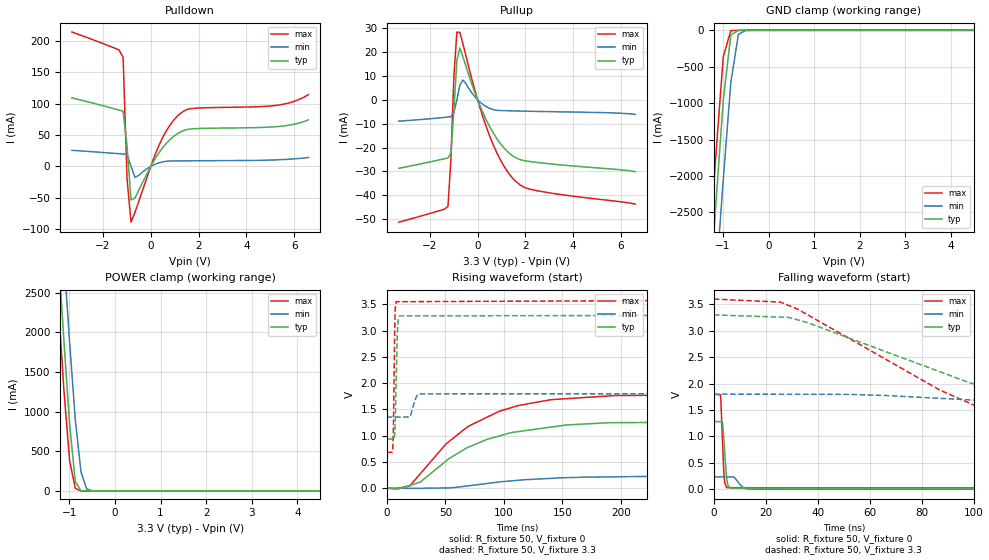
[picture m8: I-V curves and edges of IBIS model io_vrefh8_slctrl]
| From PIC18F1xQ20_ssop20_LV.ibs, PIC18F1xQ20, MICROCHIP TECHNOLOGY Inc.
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[Model] io_vrefh8_slctrl
Model_type I/O
Vinl  =  0.8
Vinh  =  2
| Capacitance   typ   min   max
C_comp   4.791778768558451e-12   4.779455766126075e-12   5.038339710819947e-12
[Model Spec]
| Subparameter   typ   min   max
Vinl   1.5   0.81   1.65
Vinh   3.6   1.89   3.85
Vmeas   2.5   1.35   2.75
| Variables   typ   min   max
[GND Clamp Reference]   0   0   0
[POWER Clamp Reference]   3.3   1.8   3.6
[Pulldown Reference]   0   0   0
[Pullup Reference]   3.3   1.8   3.6
[Temperature Range]   25   125   -40
[Voltage Range]   3.3   1.8   3.6
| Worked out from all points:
|   slope of the pulldown table from 0 to 0.495 V, typ, clamps not added: 16.7 ohm
|   slope of the pullup table from 0 to 0.495 V, typ, clamps not added: 44.8 ohm
|   GND clamp passes 1 mA (typ) near -0.66 V on its own axis
|   POWER clamp passes 1 mA (typ) near -0.65 V on its own axis
|   falling waveform, R_fixture 50, V_fixture 0: 20-80 % time 1.13ns typ, 2.41ns min, 907ps max; typ from 1.28 V to 0 V
|   falling waveform, R_fixture 50, V_fixture 3.3: 20-80 % time 93.8ns typ, 139ns min, 70.5ns max; typ from 3.3 V to 0.939 V
|   rising waveform, R_fixture 50, V_fixture 0: 20-80 % time 64.8ns typ, 69.4ns min, 61.6ns max; typ from 0 V to 1.28 V
|   rising waveform, R_fixture 50, V_fixture 3.3: 20-80 % time 1.53ns typ, 3.74ns min, 1.04ns max; typ from 0.936 V to 3.3 V
[GND Clamp]
| Voltage   I(typ)   I(min)   I(max)
-3.3V     -21.91A    -22.19A    -21.78A
-1.324V   -3.909A    -4.914A    -3.278A
-1.159V   -2.411A    -3.476A    -1.739A
-993.1mV  -956.7mA   -2.045A    -361.5mA
-827.6mV  -63.16mA   -715.6mA   -3.815mA
-662.1mV  -771.9uA   -54.27mA   -476.9uA
-496.6mV  -18.17uA   -719.5uA   -5.006uA
6.6V      0A         0A         0A
[POWER Clamp]
| Voltage   I(typ)   I(min)   I(max)
-3.3V     21.48A     21.8A      21.33A
-1.366V   4.118A     5.086A     3.518A
-1.241V   3.004A     4.014A     2.376A
-1.117V   1.891A     2.941A     1.268A
-993.1mV  844.7mA    1.878A     384.1mA
-869mV    120.2mA    905.4mA    32.61mA
-744.8mV  3.111mA    245mA      1.387mA
-620.7mV  347.3uA    25.54mA    378.5uA
-496.6mV  24.89uA    1.111mA    41.86uA
6.6V      0A         0A         0A
[Pulldown]
| Voltage   I(typ)   I(min)   I(max)
-3.3V     109.4mA    25.68mA    214.5mA
-1.324V   89.88mA    20.27mA    185.9mA
-1.159V   88.12mA    19.77mA    173.8mA
-993.1mV  31.88mA    19.25mA    -20.25mA
-827.6mV  -53.52mA   -38.8uA    -89.02mA
-662.1mV  -50.57mA   -17.43mA   -73.42mA
341.4mV   21.7mA     5.717mA    33.47mA
796.6mV   42.57mA    8.672mA    65.49mA
1.252V    55.15mA    8.913mA    85mA
1.821V    60.27mA    9.023mA    92.84mA
5.286V    63.53mA    10.51mA    97.64mA
6.6V      74.27mA    14.23mA    114.7mA
[Pullup]
| Voltage   I(typ)   I(min)   I(max)
-3.3V     -28.7mA    -8.942mA   -51.33mA
-1.241V   -24.41mA   -7.199mA   -44.6mA
-1.117V   -22.37mA   -7.062mA   -24.69mA
-993.1mV  -4.232mA   -5.311mA   10.1mA
-869mV    16.63mA    -60.72uA   28.44mA
-744.8mV  21.75mA    6.171mA    28.29mA
-620.7mV  18.28mA    8.311mA    23.71mA
455.2mV   -10.29mA   -3.355mA   -13.89mA
1.024V    -19.27mA   -4.499mA   -26.48mA
1.593V    -24.26mA   -4.657mA   -34.17mA
2.503V    -26.27mA   -4.856mA   -38.14mA
6.6V      -30.13mA   -6.092mA   -43.74mA
[Ramp]
dV/dt_r   0.768802/64.8373n  0.139526/69.4086n  1.07649/61.6313n
dV/dt_f   1.41632/93.7841n  0.266582/0.139376u  1.75185/70.4807n
R_load = 50
[Falling Waveform]
R_fixture = 50
V_fixture = 0
V_fixture_min = 0
V_fixture_max = 0
| Time   V(typ)   V(min)   V(max)
0s        1.281V     232.5mV    1.794V
2.51ns    1.278V     232.3mV    1.79V
2.735ns   1.278V     232.2mV    1.647V
3.268ns   1.277V     232.2mV    986.8mV
3.892ns   910.2mV    232.1mV    285.9mV
4.222ns   671.5mV    232mV      116.3mV
4.934ns   220.7mV    232mV      27.99mV
6.096ns   18.74mV    231.8mV    27.93mV
15.38ns   18.43mV    711.6uV    27.47mV
562.5ns   540.2nV    793.1nV    429.3nV
[Falling Waveform]
R_fixture = 50
V_fixture = 3.3
V_fixture_min = 1.8
V_fixture_max = 3.6
| Time   V(typ)   V(min)   V(max)
0s        3.3V       1.8V       3.6V
25.61ns   3.258V     1.798V     3.542V
32.26ns   3.206V     1.797V     3.409V
86.91ns   2.225V     1.72V      1.877V
111.9ns   1.842V     1.656V     1.336V
129.8ns   1.612V     1.61V      1.071V
163.9ns   1.282V     1.535V     880mV
233.4ns   1.055V     1.441V     761mV
344.5ns   968.4mV    1.381V     701.2mV
562.5ns   939.5mV    1.356V     680.3mV
[Rising Waveform]
R_fixture = 50
V_fixture = 0
V_fixture_min = 0
V_fixture_max = 0
| Time   V(typ)   V(min)   V(max)
0s        -40.76pV   16.38nV    -61.34pV
9.29ns    -19.29mV   -1.291mV   -1.552mV
19.48ns   52.29mV    -2.708mV   42.55mV
28.5ns    115.7mV    -2.342mV   275.2mV
50.67ns   520.8mV    3.637mV    846.9mV
69.4ns    777mV      43.52mV    1.176V
96.02ns   993.8mV    117.9mV    1.464V
140ns     1.162V     186.2mV    1.684V
190.1ns   1.247V     214.7mV    1.757V
562.5ns   1.281V     232.5mV    1.794V
[Rising Waveform]
R_fixture = 50
V_fixture = 3.3
V_fixture_min = 1.8
V_fixture_max = 3.6
| Time   V(typ)   V(min)   V(max)
0s        936.3mV    1.353V     678.2mV
4.95ns    936.9mV    1.353V     777.2mV
5.42ns    936.9mV    1.353V     1.066V
6.854ns   1.145V     1.354V     3.292V
7.823ns   2.033V     1.354V     3.55V
9.041ns   3.048V     1.354V     3.55V
10.81ns   3.28V      1.354V     3.55V
19.67ns   3.28V      1.363V     3.551V
27.79ns   3.281V     1.795V     3.552V
562.5ns   3.3V       1.8V       3.6V
